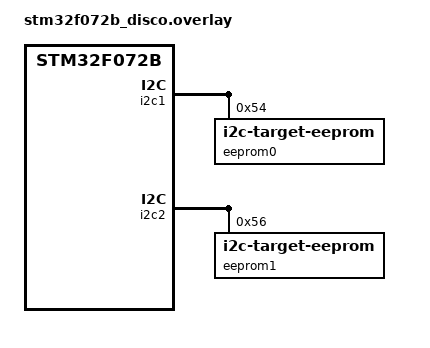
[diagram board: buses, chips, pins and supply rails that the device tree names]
/* SPDX-License-Identifier: Apache-2.0 */

/* I2C bus pins are exposed on the ST P2 connector.
 *
 *  Bus        SDA               SCL
 *          Pin   Hdr         Pin   Hdr
 *  i2c1    PB9  P2:3         PB8  P2:4
 *  i2c2    PB11 P1:31        PB10 P1:30
 *
 * Short Pin PB9 to PB11, and PB8 to PB10, for the test to pass.
 */

#define IC2_TEST_0_DMA_TX <&dma1 2 (STM32_DMA_PERIPH_TX | STM32_DMA_PRIORITY_HIGH)>
#define IC2_TEST_0_DMA_RX <&dma1 3 (STM32_DMA_PERIPH_RX | STM32_DMA_PRIORITY_HIGH)>

i2c_test_0: &i2c1 {
	dmas = IC2_TEST_0_DMA_TX, IC2_TEST_0_DMA_RX;
	dma-names = "tx", "rx";

	eeprom0: eeprom@54 {
		compatible = "zephyr,i2c-target-eeprom";
		reg = <0x54>;
		size = <256>;
	};
};

#define IC2_TEST_1_DMA_TX <&dma1 4 (STM32_DMA_PERIPH_TX | STM32_DMA_PRIORITY_HIGH)>
#define IC2_TEST_1_DMA_RX <&dma1 5 (STM32_DMA_PERIPH_RX | STM32_DMA_PRIORITY_HIGH)>

i2c_test_1: &i2c2 {
	dmas = IC2_TEST_1_DMA_TX, IC2_TEST_1_DMA_RX;
	dma-names = "tx", "rx";

	eeprom1: eeprom@56 {
		compatible = "zephyr,i2c-target-eeprom";
		reg = <0x56>;
		size = <256>;
	};
};

&dma1 {
	status = "okay";
};
